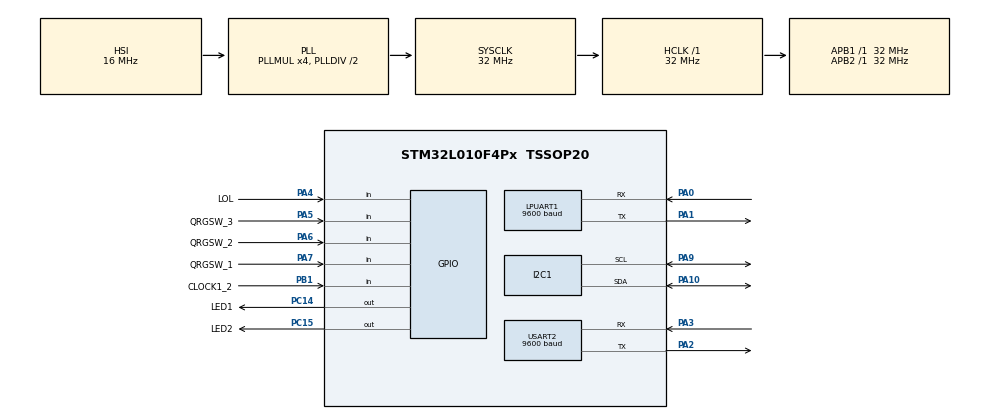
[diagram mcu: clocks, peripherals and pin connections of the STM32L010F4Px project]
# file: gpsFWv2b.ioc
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Dma.LPUART1_TX.1.Direction=DMA_MEMORY_TO_PERIPH
Dma.LPUART1_TX.1.Instance=DMA1_Channel4
Dma.LPUART1_TX.1.MemDataAlignment=DMA_MDATAALIGN_BYTE
Dma.LPUART1_TX.1.MemInc=DMA_MINC_ENABLE
Dma.LPUART1_TX.1.Mode=DMA_NORMAL
Dma.LPUART1_TX.1.PeriphDataAlignment=DMA_PDATAALIGN_BYTE
Dma.LPUART1_TX.1.PeriphInc=DMA_PINC_DISABLE
Dma.LPUART1_TX.1.Priority=DMA_PRIORITY_LOW
Dma.Request0=USART2_TX
Dma.Request1=LPUART1_TX
Dma.USART2_TX.0.Direction=DMA_MEMORY_TO_PERIPH
Dma.USART2_TX.0.Instance=DMA1_Channel2
Dma.USART2_TX.0.MemDataAlignment=DMA_MDATAALIGN_BYTE
Dma.USART2_TX.0.MemInc=DMA_MINC_ENABLE
Dma.USART2_TX.0.Mode=DMA_NORMAL
Dma.USART2_TX.0.PeriphDataAlignment=DMA_PDATAALIGN_BYTE
Dma.USART2_TX.0.PeriphInc=DMA_PINC_DISABLE
Dma.USART2_TX.0.Priority=DMA_PRIORITY_LOW
I2C1.Timing=0x00707CBB
LPUART1.BaudRate=9600
LPUART1.WordLength=UART_WORDLENGTH_8B
Mcu.Family=STM32L0
Mcu.Name=STM32L010F4Px
Mcu.Package=TSSOP20
NVIC.DMA1_Channel2_3_IRQn=true\:0\:0\:false\:false\:true\:false\:true
NVIC.DMA1_Channel4_5_IRQn=true\:0\:0\:false\:false\:true\:false\:true
NVIC.I2C1_IRQn=true\:0\:0\:false\:false\:true\:true\:true
NVIC.LPUART1_IRQn=true\:0\:0\:false\:false\:true\:true\:true
NVIC.TIM2_IRQn=true\:0\:0\:false\:false\:true\:true\:true
NVIC.USART2_IRQn=true\:0\:0\:false\:false\:true\:true\:true
PA0-CK_IN.Mode=Asynchronous
PA0-CK_IN.Signal=LPUART1_RX
PA1.Mode=Asynchronous
PA1.Signal=LPUART1_TX
PA10.Mode=I2C
PA10.Signal=I2C1_SDA
PA2.Mode=Asynchronous
PA2.Signal=USART2_TX
PA3.Mode=Asynchronous
PA3.Signal=USART2_RX
PA4.GPIO_Label=LOL
PA4.GPIO_PuPd=GPIO_PULLUP
PA4.Signal=GPIO_Input
PA5.GPIO_Label=QRGSW_3
PA5.GPIO_PuPd=GPIO_PULLUP
PA5.Signal=GPIO_Input
PA6.GPIO_Label=QRGSW_2
PA6.GPIO_PuPd=GPIO_PULLUP
PA6.Signal=GPIO_Input
PA7.GPIO_Label=QRGSW_1
PA7.GPIO_PuPd=GPIO_PULLUP
PA7.Signal=GPIO_Input
PA9.Mode=I2C
PA9.Signal=I2C1_SCL
PB1.GPIO_Label=CLOCK1_2
PB1.GPIO_PuPd=GPIO_PULLUP
PB1.Signal=GPIO_Input
PC14-OSC32_IN.GPIO_Label=LED1
PC14-OSC32_IN.PinState=GPIO_PIN_SET
PC14-OSC32_IN.Signal=GPIO_Output
PC15-OSC32_OUT.GPIO_Label=LED2
PC15-OSC32_OUT.PinState=GPIO_PIN_SET
PC15-OSC32_OUT.Signal=GPIO_Output
ProjectManager.HeapSize=0x200
ProjectManager.StackSize=0x400
ProjectManager.TargetToolchain=SW4STM32
RCC.AHBFreq_Value=32000000
RCC.APB1Freq_Value=32000000
RCC.APB1TimFreq_Value=32000000
RCC.APB2Freq_Value=32000000
RCC.APB2TimFreq_Value=32000000
RCC.HCLKFreq_Value=32000000
RCC.HSE_VALUE=8000000
RCC.HSI16_VALUE=16000000
RCC.HSI_VALUE=16000000
RCC.LSE_VALUE=32768
RCC.MSI_VALUE=2097000
RCC.PLLMUL=RCC_PLLMUL_4
RCC.SYSCLKFreq_VALUE=32000000
RCC.SYSCLKSource=RCC_SYSCLKSOURCE_PLLCLK
RCC.VCOOutputFreq_Value=64000000
TIM2.Period=1000
TIM2.Prescaler=32
USART2.BaudRate=9600
USART2.VirtualMode=VM_ASYNC
VP_TIM2_VS_ClockSourceINT.Mode=Internal
board=custom

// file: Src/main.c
/* USER CODE BEGIN Header */
/*
    This program is free software: you can redistribute it and/or modify
    it under the terms of the GNU General Public License as published by
    the Free Software Foundation, either version 3 of the License, or
    (at your option) any later version.

    This program is distributed in the hope that it will be useful,
    but WITHOUT ANY WARRANTY; without even the implied warranty of
    MERCHANTABILITY or FITNESS FOR A PARTICULAR PURPOSE.  See the
    GNU General Public License for more details.

    You should have received a copy of the GNU General Public License
    along with this program.  If not, see <http://www.gnu.org/licenses/>.
*/
/**
  ******************************************************************************
  * @file           : main.c
  * @brief          : Main program body
  ******************************************************************************
  * @attention
  *
  * <h2><center>&copy; Copyright (c) 2020 STMicroelectronics.
  * All rights reserved.</center></h2>
  *
  * This software component is licensed by ST under BSD 3-Clause license,
  * the "License"; You may not use this file except in compliance with the
  * License. You may obtain a copy of the License at:
  *                        opensource.org/licenses/BSD-3-Clause
  *
  ******************************************************************************
  */
/* USER CODE END Header */

#include "main.h"
#include "dma.h"
#include "i2c.h"
#include "usart.h"
#include "tim.h"
#include "gpio.h"

/* USER CODE BEGIN PV */
volatile extern uint8_t ubx_ack;
volatile extern uint32_t tick1ms;
extern uint8_t gps_just_locked;
/* USER CODE END PV */

void SystemClock_Config(void);
/* USER CODE BEGIN PFP */
void myUSARTrxInit();
void sendUART();
void fwdRxTx();
void initGPS();
void Si5328Ready();
void si5328_ical();
void readJumper();
/* USER CODE END PFP */

int main(void)
{

  /* MCU Configuration--------------------------------------------------------*/

  /* Reset of all peripherals, Initializes the Flash interface and the Systick. */
  HAL_Init();

  /* Configure the system clock */
  SystemClock_Config();

  /* USER CODE BEGIN SysInit */
  fwdRxTx();	// tell the downconverter that we use ext. 10 MHz

  /* USER CODE END SysInit */

  /* Initialize all configured peripherals */
  MX_GPIO_Init();
  MX_TIM2_Init();
  MX_DMA_Init();
  MX_USART2_UART_Init();
  MX_I2C1_Init();
  MX_LPUART1_UART_Init();
  /* USER CODE BEGIN 2 */
  readJumper();
  myUSARTrxInit();
  HAL_TIM_Base_Start_IT(&htim2);
  Si5328Ready();
  /* USER CODE END 2 */

  /* Infinite loop */
  while (1)
  {

    /* USER CODE BEGIN 3 */
	// init the GPS module every second until ACK was received
	if(ubx_ack == 0 && tick1ms > 1000)
	{
		tick1ms = 0;
		initGPS();
	}

	// send UART1 (GPS) to UART 2 (Downconverter)
	sendUART();

	// relock si5328 if GPS lock status changed
	if(gps_just_locked == 1)
	{
		gps_just_locked = 2;
		si5328_ical();
	}
  }
  /* USER CODE END 3 */
}

void SystemClock_Config(void)
{
  RCC_OscInitTypeDef RCC_OscInitStruct = {0};
  RCC_ClkInitTypeDef RCC_ClkInitStruct = {0};
  RCC_PeriphCLKInitTypeDef PeriphClkInit = {0};

  /** Configure the main internal regulator output voltage
  */
  __HAL_PWR_VOLTAGESCALING_CONFIG(PWR_REGULATOR_VOLTAGE_SCALE1);
  /** Initializes the CPU, AHB and APB busses clocks
  */
  RCC_OscInitStruct.OscillatorType = RCC_OSCILLATORTYPE_HSI;
  RCC_OscInitStruct.HSIState = RCC_HSI_ON;
  RCC_OscInitStruct.HSICalibrationValue = RCC_HSICALIBRATION_DEFAULT;
  RCC_OscInitStruct.PLL.PLLState = RCC_PLL_ON;
  RCC_OscInitStruct.PLL.PLLSource = RCC_PLLSOURCE_HSI;
  RCC_OscInitStruct.PLL.PLLMUL = RCC_PLLMUL_4;
  RCC_OscInitStruct.PLL.PLLDIV = RCC_PLLDIV_2;
  if (HAL_RCC_OscConfig(&RCC_OscInitStruct) != HAL_OK)
  {
    Error_Handler();
  }
  /** Initializes the CPU, AHB and APB busses clocks
  */
  RCC_ClkInitStruct.ClockType = RCC_CLOCKTYPE_HCLK|RCC_CLOCKTYPE_SYSCLK
                              |RCC_CLOCKTYPE_PCLK1|RCC_CLOCKTYPE_PCLK2;
  RCC_ClkInitStruct.SYSCLKSource = RCC_SYSCLKSOURCE_PLLCLK;
  RCC_ClkInitStruct.AHBCLKDivider = RCC_SYSCLK_DIV1;
  RCC_ClkInitStruct.APB1CLKDivider = RCC_HCLK_DIV1;
  RCC_ClkInitStruct.APB2CLKDivider = RCC_HCLK_DIV1;

  if (HAL_RCC_ClockConfig(&RCC_ClkInitStruct, FLASH_LATENCY_1) != HAL_OK)
  {
    Error_Handler();
  }
  PeriphClkInit.PeriphClockSelection = RCC_PERIPHCLK_USART2|RCC_PERIPHCLK_LPUART1
                              |RCC_PERIPHCLK_I2C1;
  PeriphClkInit.Usart2ClockSelection = RCC_USART2CLKSOURCE_PCLK1;
  PeriphClkInit.Lpuart1ClockSelection = RCC_LPUART1CLKSOURCE_PCLK1;
  PeriphClkInit.I2c1ClockSelection = RCC_I2C1CLKSOURCE_PCLK1;
  if (HAL_RCCEx_PeriphCLKConfig(&PeriphClkInit) != HAL_OK)
  {
    Error_Handler();
  }
}

void Error_Handler(void)
{
}

/************************ (C) COPYRIGHT STMicroelectronics *****END OF FILE****/
